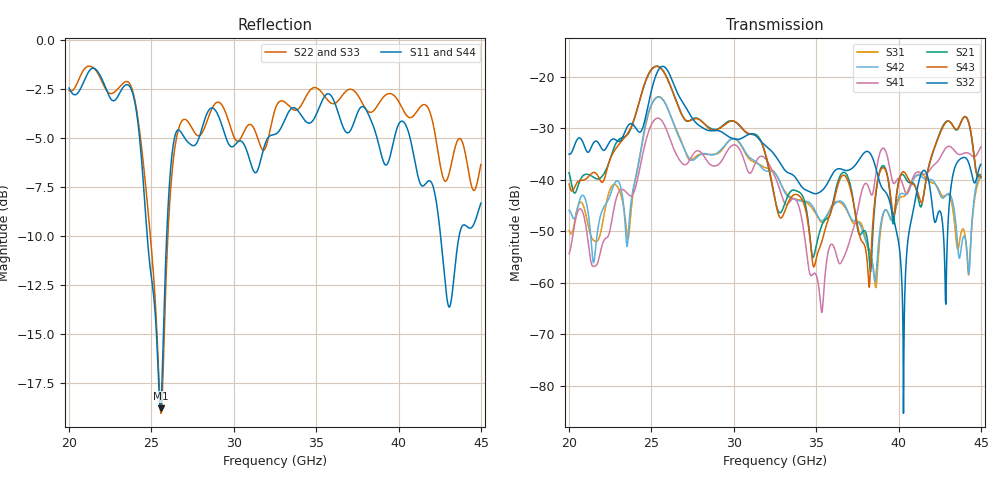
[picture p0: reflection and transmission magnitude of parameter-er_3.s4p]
! TOUCHSTONE file generated by CST MICROWAVE STUDIO
! Date and time: Fri Jun  7 00:43:42 2024
! Project name: Final_26GHz_linear.cst
! Parameters = {Connector_spacing=15.33; Coplanar_gap=0.425; Distance_inner=4.78238; Distance_outer=14.3471; L=2.6; L_pad=5; Length_strip_inner=24.3248; Length_strip_outer=27.8328; Pad_via_diameter=2.1; Pad_via_x_centre=3.75; Pad_via_z_centre=2.8; Patch_spacing=5.76524; Via_diameter=0.4; Via_spacing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
! Header version: 2024
! Port assignment regex: !\s*Touchstone port\s*([0-9]+)\s*=\s*(CST MWS port|CST DES external port|CST DES block port)\s*(.+)\s* \(\"(.*)\"\)(\s*mode\s*([0-9]+))?.*
! Touchstone port assignment:
! Touchstone port 1 = CST MWS port 1 ("")
! Touchstone port 2 = CST MWS port 2 ("")
! Touchstone port 3 = CST MWS port 3 ("")
! Touchstone port 4 = CST MWS port 4 ("")
# GHz S MA R 50
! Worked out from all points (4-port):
!   1001 points, 20 GHz to 45 GHz, reference 50 ohm
!   strongest paths, dB at 20 GHz, 26.25 GHz, 32.5 GHz, 38.75 GHz, 45 GHz:
!     S32: -35.1, -20.7, -35.3, -39.3, -37.0
!     S43: -40.9, -22.6, -43.8, -40.0, -39.4
!     S21: -38.7, -22.6, -43.9, -39.9, -39.6
!     S41: -54.4, -33.2, -39.4, -36.4, -33.7
!     S42: -46.0, -28.3, -38.8, -53.6, -38.9
!     S31: -49.9, -28.3, -38.7, -55.9, -39.5
!   lowest |S11| = -18.8 dB at 25.55 GHz (marker M1), VSWR 1.26, Z = 62.7 + j2.74 ohm
!   |S11| at or under -10 dB: 24.74 GHz to 25.92 GHz (1.182 GHz wide, 4.67 % of centre); 42.55 GHz to 43.68 GHz (1.124 GHz wide, 2.61 % of centre)
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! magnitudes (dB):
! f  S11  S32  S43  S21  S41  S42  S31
! 20 GHz  -2.5  -35.1  -40.9  -38.7  -54.4  -46.0  -49.9
! 25.55 GHz  -18.8  -18.2  -18.4  -18.3  -28.3  -24.1  -24.0
! 35.33 GHz  -3.2  -42.2  -52.2  -49.0  -65.7  -48.0  -48.3
! 38.3 GHz  -4.0  -35.0  -56.8  -57.9  -42.6  -54.3  -54.8
! 40.3 GHz  -4.2  -85.3  -38.5  -39.1  -41.4  -42.7  -43.3
! 41.42 GHz  -7.4  -38.5  -44.4  -44.7  -38.8  -39.5  -39.0
! 45 GHz  -8.3  -37.0  -39.4  -39.6  -33.7  -38.9  -39.5
